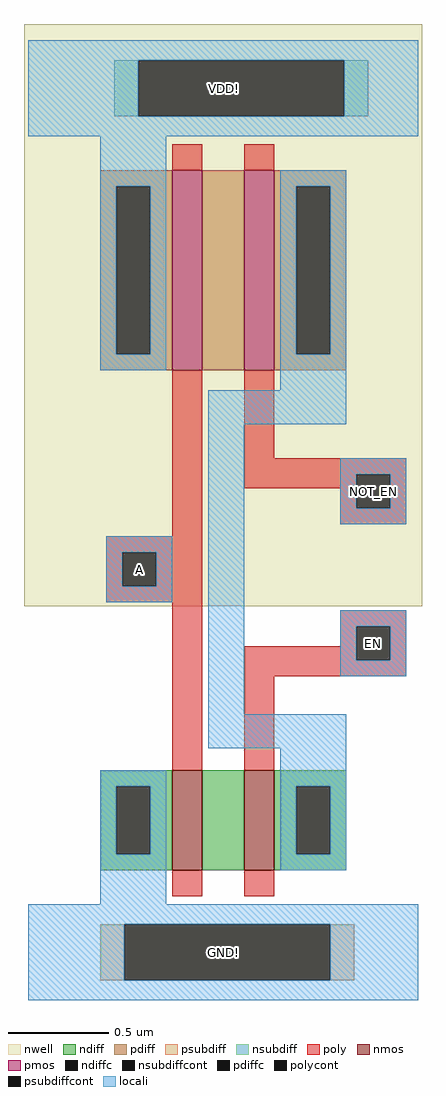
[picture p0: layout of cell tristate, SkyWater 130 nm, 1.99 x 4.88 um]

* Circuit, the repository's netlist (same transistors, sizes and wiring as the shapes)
* NGSPICE file created from tristate.ext - technology: sky130A

*.subckt tristate VDD GND A EN NOT_EN
X0 a_94_6# A GND GND sky130_fd_pr__nfet_01v8 ad=1.05e+11p pd=1.42e+06u as=1.8e+11p ps=1.72e+06u w=500000u l=150000u
X1 a_166_6# NOT_EN a_94_506# VDD sky130_fd_pr__pfet_01v8 ad=3.6e+11p pd=2.72e+06u as=2.1e+11p ps=2.42e+06u w=1e+06u l=150000u
X2 a_166_6# EN a_94_6# GND sky130_fd_pr__nfet_01v8 ad=1.8e+11p pd=1.72e+06u as=0p ps=0u w=500000u l=150000u
X3 a_94_506# A VDD VDD sky130_fd_pr__pfet_01v8 ad=0p pd=0u as=3.6e+11p ps=2.72e+06u w=1e+06u l=150000u
*.ends

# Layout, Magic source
magic
tech sky130A
<< nwell >>
rect -42 135 157 426
<< nmos >>
rect 32 3 47 53
rect 68 3 83 53
<< pmos >>
rect 32 253 47 353
rect 68 253 83 353
<< ndiff >>
rect -4 45 32 53
rect -4 11 4 45
rect 21 11 32 45
rect -4 3 32 11
rect 47 3 68 53
rect 83 45 119 53
rect 83 11 94 45
rect 111 11 119 45
rect 83 3 119 11
<< pdiff >>
rect -4 345 32 353
rect -4 261 4 345
rect 21 261 32 345
rect -4 253 32 261
rect 47 253 68 353
rect 83 345 119 353
rect 83 261 94 345
rect 111 261 119 345
rect 83 253 119 261
<< ndiffc >>
rect 4 11 21 45
rect 94 11 111 45
<< pdiffc >>
rect 4 261 21 345
rect 94 261 111 345
<< psubdiff >>
rect -4 -52 8 -24
rect 111 -52 123 -24
<< nsubdiff >>
rect 3 380 15 408
rect 118 380 130 408
<< psubdiffcont >>
rect 8 -52 111 -24
<< nsubdiffcont >>
rect 15 380 118 408
<< poly >>
rect 32 353 47 366
rect 68 353 83 366
rect 32 170 47 253
rect 68 209 83 253
rect 68 201 149 209
rect 68 194 124 201
rect 116 184 124 194
rect 141 184 149 201
rect 116 176 149 184
rect -1 162 47 170
rect -1 145 7 162
rect 24 145 47 162
rect -1 137 47 145
rect 32 53 47 137
rect 116 125 149 133
rect 116 115 124 125
rect 68 108 124 115
rect 141 108 149 125
rect 68 100 149 108
rect 68 53 83 100
rect 32 -10 47 3
rect 68 -10 83 3
<< polycont >>
rect 124 184 141 201
rect 7 145 24 162
rect 124 108 141 125
<< locali >>
rect -40 408 155 418
rect -40 380 15 408
rect 118 380 155 408
rect -40 370 155 380
rect -4 345 29 370
rect -4 261 4 345
rect 21 261 29 345
rect -4 253 29 261
rect 86 345 119 353
rect 86 261 94 345
rect 111 261 119 345
rect 86 243 119 261
rect 50 226 119 243
rect -1 162 32 170
rect -1 145 7 162
rect 24 145 32 162
rect -1 137 32 145
rect 50 81 68 226
rect 116 201 149 209
rect 116 184 124 201
rect 141 184 149 201
rect 116 176 149 184
rect 116 125 149 133
rect 116 108 124 125
rect 141 108 149 125
rect 116 100 149 108
rect 50 64 119 81
rect -4 45 29 53
rect -4 11 4 45
rect 21 11 29 45
rect -4 -14 29 11
rect 86 45 119 64
rect 86 11 94 45
rect 111 11 119 45
rect 86 3 119 11
rect -40 -24 155 -14
rect -40 -52 8 -24
rect 111 -52 155 -24
rect -40 -62 155 -52
<< labels >>
flabel locali -1 137 32 170 0 FreeSerif 80 0 0 0 A
port 7 nsew
flabel nwell -40 370 156 418 0 FreeSerif 80 0 0 0 VDD!
port 0 nsew
flabel locali 116 100 149 133 0 FreeSerif 80 0 0 0 EN
port 8 nsew
flabel locali 116 176 149 209 0 FreeSerif 80 0 0 0 NOT_EN
port 9 nsew
flabel locali -40 -62 155 -14 0 FreeSerif 80 0 0 0 GND!
port 1 nsew
<< end >>
